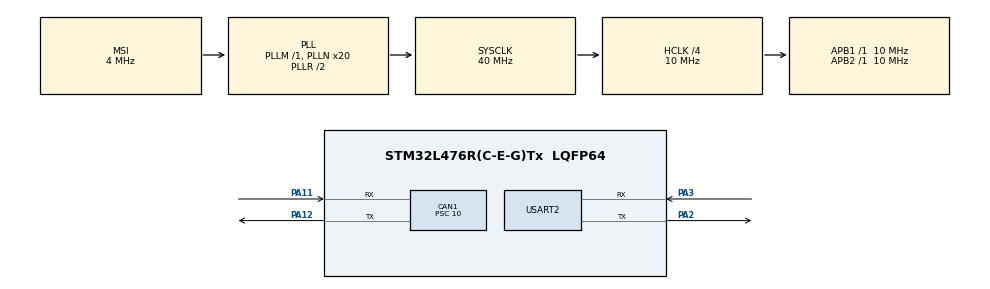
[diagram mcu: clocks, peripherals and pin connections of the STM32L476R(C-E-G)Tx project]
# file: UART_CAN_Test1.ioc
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CAN1.BS1=CAN_BS1_4TQ
CAN1.BS2=CAN_BS2_5TQ
CAN1.CalculateBaudRate=100000
CAN1.CalculateTimeBit=10000.00
CAN1.CalculateTimeQuantum=1000.0
CAN1.Mode=CAN_MODE_LOOPBACK
CAN1.Prescaler=10
CAN1.SJW=CAN_SJW_3TQ
Mcu.Family=STM32L4
Mcu.Name=STM32L476R(C-E-G)Tx
Mcu.Package=LQFP64
NVIC.CAN1_RX0_IRQn=true\:0\:0\:false\:false\:true\:true\:true
NVIC.CAN1_RX1_IRQn=true\:0\:0\:false\:false\:true\:true\:true
NVIC.PriorityGroup=NVIC_PRIORITYGROUP_4
NVIC.USART2_IRQn=true\:0\:0\:false\:false\:true\:true\:true
PA11.Mode=CAN_Activate
PA11.Signal=CAN1_RX
PA12.Mode=CAN_Activate
PA12.Signal=CAN1_TX
PA13\ (JTMS-SWDIO).Mode=Serial_Wire
PA13\ (JTMS-SWDIO).Signal=SYS_JTMS-SWDIO
PA14\ (JTCK-SWCLK).Mode=Serial_Wire
PA14\ (JTCK-SWCLK).Signal=SYS_JTCK-SWCLK
PA2.Mode=Asynchronous
PA2.Signal=USART2_TX
PA3.Mode=Asynchronous
PA3.Signal=USART2_RX
ProjectManager.HeapSize=0x200
ProjectManager.StackSize=0x400
ProjectManager.TargetToolchain=SW4STM32
RCC.AHBCLKDivider=RCC_SYSCLK_DIV4
RCC.AHBFreq_Value=10000000
RCC.APB1Freq_Value=10000000
RCC.APB1TimFreq_Value=10000000
RCC.APB2Freq_Value=10000000
RCC.APB2TimFreq_Value=10000000
RCC.CortexFreq_Value=10000000
RCC.HCLKFreq_Value=10000000
RCC.HSE_VALUE=8000000
RCC.HSI_VALUE=16000000
RCC.LSE_VALUE=32768
RCC.MSI_VALUE=4000000
RCC.PLLN=20
RCC.SYSCLKFreq_VALUE=40000000
RCC.SYSCLKSource=RCC_SYSCLKSOURCE_PLLCLK
RCC.VCOOutputFreq_Value=80000000
USART2.VirtualMode-Asynchronous=VM_ASYNC
board=custom

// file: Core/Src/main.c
/* USER CODE BEGIN Header */
/**
  ******************************************************************************
  * @file           : main.c
  * @brief          : Main program body
  ******************************************************************************
  * @attention
  *
  * <h2><center>&copy; Copyright (c) 2022 STMicroelectronics.
  * All rights reserved.</center></h2>
  *
  * This software component is licensed by ST under BSD 3-Clause license,
  * the "License"; You may not use this file except in compliance with the
  * License. You may obtain a copy of the License at:
  *                        opensource.org/licenses/BSD-3-Clause
  *
  ******************************************************************************
  */
/* USER CODE END Header */
#include "main.h"
#include<stdlib.h>

CAN_HandleTypeDef hcan1;

UART_HandleTypeDef huart2;

void SystemClock_Config(void);
static void MX_GPIO_Init(void);
static void MX_CAN1_Init(void);
static void MX_USART2_UART_Init(void);
/* USER CODE BEGIN PFP */

void CAN_Mode(uint8_t);
void CAN_SJW(uint8_t);
void CAN_TSeg1(uint8_t);
void CAN_TSeg2(uint8_t);
/* USER CODE END PFP */

/* USER CODE BEGIN 0 */
CAN_TxHeaderTypeDef TxHeader; //for transmitting data
CAN_RxHeaderTypeDef RxHeader; // checking data after receive

uint32_t TxMailbox;//creating a mailbox to send data

//creating buffer for transmit and receive
//uint8_t UART_TxData[8];
//uint8_t CAN_TxData[8];
uint8_t UART_RxData[14];
//uint8_t CAN_RxData[8];
//uint8_t *Data;
//uint8_t count=0;

void HAL_UART_RxCpltCallback(UART_HandleTypeDef *huart)
{

	//specifying the header

	if (UART_RxData[0]==2){
		//specifying the header

		TxHeader.DLC=UART_RxData[2];
		TxHeader.IDE=(UART_RxData[13]==1)?CAN_ID_STD:CAN_ID_EXT;
		if (TxHeader.IDE==CAN_ID_STD)
		{
			TxHeader.StdId=UART_RxData[1];
		}else{
			TxHeader.ExtId=UART_RxData[1];
		}
		TxHeader.RTR=(UART_RxData[11]==1)?CAN_RTR_DATA:CAN_RTR_REMOTE;
		TxHeader.TransmitGlobalTime=(UART_RxData[12]==1)?ENABLE:DISABLE;

		uint8_t *Data=malloc(UART_RxData[2]*sizeof(uint8_t)); //DELETED THIS CODE BLOCK
		for (int i=0;i<UART_RxData[2];i++)
		{
			Data[i]=UART_RxData[i+3];
		}

		//uint8_t Data[8] = {0};  // Always use 8 bytes, zero-initialized
		//uint8_t dlc = TxHeader.DLC;
		//for (int i = 0; i < dlc && i < 8; i++) {
		//	Data[i] = UART_RxData[i + 3];
		//}

		HAL_CAN_AddTxMessage(&hcan1, &TxHeader, Data, &TxMailbox);
	}
	else if (UART_RxData[0]==1){
		hcan1.Init.Prescaler = UART_RxData[1];
		/*
		hcan1.Init.Mode = CAN_MODE_LOOPBACK;
		hcan1.Init.SyncJumpWidth = CAN_SJW_3TQ;
		hcan1.Init.TimeSeg1 = CAN_BS1_4TQ;
		hcan1.Init.TimeSeg2 = CAN_BS2_5TQ;
		*/

		CAN_Mode(UART_RxData[2]);
		CAN_SJW(UART_RxData[3]);
		CAN_TSeg1(UART_RxData[4]);
		CAN_TSeg2(UART_RxData[5]);
	    HAL_CAN_DeInit(&hcan1);
	    HAL_CAN_Init(&hcan1);
	    HAL_CAN_Start(&hcan1);
	    HAL_CAN_ActivateNotification(&hcan1, CAN_IT_RX_FIFO0_MSG_PENDING);

	    //DELETE
     //   uint8_t debug[5] = { hcan1.Init.Prescaler, hcan1.Init.SyncJumpWidth, hcan1.Init.TimeSeg1, hcan1.Init.TimeSeg2, hcan1.Init.Mode };
      //  HAL_UART_Transmit(&huart2, debug, 5, 100);
	}
  HAL_UART_Receive_IT(&huart2, UART_RxData, sizeof(UART_RxData));

}

void HAL_CAN_RxFifo0MsgPendingCallback(CAN_HandleTypeDef *hcan)
{	/*
	//uint8_t *CAN_RxData;
	uint8_t *CAN_RxData=malloc((UART_RxData[1])*sizeof(uint8_t));
	//uint8_t CAN_RxData[8];
	HAL_CAN_GetRxMessage(hcan, CAN_RX_FIFO0, &RxHeader, CAN_RxData);
	//UART_TxData=CAN_RxData;
	//CAN_RxData[7]+=1;
	CAN_RxData[3]=0xa1;
	HAL_UART_Transmit(&huart2,CAN_RxData,8,1000);//sizeof(CAN_RxData)
	//HAL_UART_Receive_IT(&huart2, UART_RxData, sizeof(UART_RxData)); //restarting the interrupt reception mode
	//RxData[7]+=1;
	*/
    uint8_t CAN_RxData[8] = {0};
    HAL_CAN_GetRxMessage(hcan, CAN_RX_FIFO0, &RxHeader, CAN_RxData);
    // Only send as many bytes as received (DLC)
    HAL_UART_Transmit(&huart2, CAN_RxData, RxHeader.DLC, 1000);
}
/* USER CODE END 0 */

int main(void)
{

  /* MCU Configuration--------------------------------------------------------*/

  /* Reset of all peripherals, Initializes the Flash interface and the Systick. */
  HAL_Init();

  /* Configure the system clock */
  SystemClock_Config();

  /* Initialize all configured peripherals */
  MX_GPIO_Init();
  MX_CAN1_Init();
  MX_USART2_UART_Init();
  /* USER CODE BEGIN 2 */

  HAL_CAN_Start(&hcan1);

  //activating UART Receive Interrupt
  HAL_UART_Receive_IT(&huart2, UART_RxData, sizeof(UART_RxData));

  HAL_CAN_ActivateNotification(&hcan1, CAN_IT_RX_FIFO0_MSG_PENDING); //activating CAN Receive interrupt

  /* USER CODE END 2 */

  /* Infinite loop */
  while (1)
  {

  }
}

void CAN_Mode(uint8_t ModeID)
{
	switch(ModeID)
	{
	case 0:
		hcan1.Init.Mode =CAN_MODE_NORMAL;
		break;
	case 1:
		hcan1.Init.Mode =CAN_MODE_LOOPBACK;
		break;
	case 2:
		hcan1.Init.Mode =CAN_MODE_SILENT;
		break;
	case 3:
		hcan1.Init.Mode =CAN_MODE_SILENT_LOOPBACK;
		break;
	//default:
	//	printf("Error CAN Mode !!");
	}
}

void CAN_TSeg1(uint8_t TSeg1ID)
{
	switch(TSeg1ID)
	{
	case 1:
		hcan1.Init.TimeSeg1 = CAN_BS1_1TQ;
		break;
	case 2:
		hcan1.Init.TimeSeg1 = CAN_BS1_2TQ;
		break;
	case 3:
		hcan1.Init.TimeSeg1 = CAN_BS1_3TQ;
		break;
	case 4:
		hcan1.Init.TimeSeg1 = CAN_BS1_4TQ;
		break;
	case 5:
		hcan1.Init.TimeSeg1 = CAN_BS1_5TQ;
		break;
	case 6:
		hcan1.Init.TimeSeg1 = CAN_BS1_6TQ;
		break;
	case 7:
		hcan1.Init.TimeSeg1 = CAN_BS1_7TQ;
		break;
	case 8:
		hcan1.Init.TimeSeg1 = CAN_BS1_8TQ;
		break;
	case 9:
		hcan1.Init.TimeSeg1 = CAN_BS1_9TQ;
		break;
	case 10:
		hcan1.Init.TimeSeg1 = CAN_BS1_10TQ;
		break;
	case 11:
		hcan1.Init.TimeSeg1 = CAN_BS1_11TQ;
		break;
	case 12:
		hcan1.Init.TimeSeg1 = CAN_BS1_12TQ;
		break;
	case 13:
		hcan1.Init.TimeSeg1 = CAN_BS1_13TQ;
		break;
	case 14:
		hcan1.Init.TimeSeg1 = CAN_BS1_14TQ;
		break;
	case 15:
		hcan1.Init.TimeSeg1 = CAN_BS1_15TQ;
		break;
	case 16:
		hcan1.Init.TimeSeg1 = CAN_BS1_16TQ;
		break;
	}

}
void CAN_TSeg2(uint8_t TSeg2ID)
{
	switch(TSeg2ID)
	{
	case 1:
		hcan1.Init.TimeSeg2 = CAN_BS2_1TQ;
		break;
	case 2:
		hcan1.Init.TimeSeg2 = CAN_BS2_2TQ;
		break;
	case 3:
		hcan1.Init.TimeSeg2 = CAN_BS2_3TQ;
		break;
	case 4:
		hcan1.Init.TimeSeg2 = CAN_BS2_4TQ;
		break;
	case 5:
		hcan1.Init.TimeSeg2 = CAN_BS2_5TQ;
		break;
	case 6:
		hcan1.Init.TimeSeg2 = CAN_BS2_6TQ;
		break;
	case 7:
		hcan1.Init.TimeSeg2 = CAN_BS2_7TQ;
		break;
	case 8:
		hcan1.Init.TimeSeg2 = CAN_BS2_8TQ;
		break;
	}

}
void CAN_SJW(uint8_t SJW)
{
	switch(SJW)
	{
	case 1:
		hcan1.Init.SyncJumpWidth = CAN_SJW_1TQ;
		break;
	case 2:
		hcan1.Init.SyncJumpWidth = CAN_SJW_2TQ;
		break;
	case 3:
		hcan1.Init.SyncJumpWidth = CAN_SJW_3TQ;
		break;
	case 4:
		hcan1.Init.SyncJumpWidth = CAN_SJW_4TQ;
		break;
	}

}
/*
void CAN_TSeg1_test(uint8_t TSeg1ID)
{
	hcan1.Init.TimeSeg1 = "CAN_BS1_" + TSeg1ID + "TQ";
}
*/
void SystemClock_Config(void)
{
  RCC_OscInitTypeDef RCC_OscInitStruct = {0};
  RCC_ClkInitTypeDef RCC_ClkInitStruct = {0};

  /** Configure the main internal regulator output voltage
  */
  if (HAL_PWREx_ControlVoltageScaling(PWR_REGULATOR_VOLTAGE_SCALE1) != HAL_OK)
  {
    Error_Handler();
  }
  /** Initializes the RCC Oscillators according to the specified parameters
  * in the RCC_OscInitTypeDef structure.
  */
  RCC_OscInitStruct.OscillatorType = RCC_OSCILLATORTYPE_MSI;
  RCC_OscInitStruct.MSIState = RCC_MSI_ON;
  RCC_OscInitStruct.MSICalibrationValue = 0;
  RCC_OscInitStruct.MSIClockRange = RCC_MSIRANGE_6;
  RCC_OscInitStruct.PLL.PLLState = RCC_PLL_ON;
  RCC_OscInitStruct.PLL.PLLSource = RCC_PLLSOURCE_MSI;
  RCC_OscInitStruct.PLL.PLLM = 1;
  RCC_OscInitStruct.PLL.PLLN = 20;
  RCC_OscInitStruct.PLL.PLLP = RCC_PLLP_DIV7;
  RCC_OscInitStruct.PLL.PLLQ = RCC_PLLQ_DIV2;
  RCC_OscInitStruct.PLL.PLLR = RCC_PLLR_DIV2;
  if (HAL_RCC_OscConfig(&RCC_OscInitStruct) != HAL_OK)
  {
    Error_Handler();
  }
  /** Initializes the CPU, AHB and APB buses clocks
  */
  RCC_ClkInitStruct.ClockType = RCC_CLOCKTYPE_HCLK|RCC_CLOCKTYPE_SYSCLK
                              |RCC_CLOCKTYPE_PCLK1|RCC_CLOCKTYPE_PCLK2;
  RCC_ClkInitStruct.SYSCLKSource = RCC_SYSCLKSOURCE_PLLCLK;
  RCC_ClkInitStruct.AHBCLKDivider = RCC_SYSCLK_DIV4;
  RCC_ClkInitStruct.APB1CLKDivider = RCC_HCLK_DIV1;
  RCC_ClkInitStruct.APB2CLKDivider = RCC_HCLK_DIV1;

  if (HAL_RCC_ClockConfig(&RCC_ClkInitStruct, FLASH_LATENCY_0) != HAL_OK)
  {
    Error_Handler();
  }
}

static void MX_CAN1_Init(void)
{

  hcan1.Instance = CAN1;
  //hcan1.Init.Prescaler = 8;
 // hcan1.Init.Mode = CAN_MODE_NORMAL; //CAN_MODE_NORMAL CAN_MODE_LOOPBACK
 // hcan1.Init.SyncJumpWidth = CAN_SJW_3TQ;
 // hcan1.Init.TimeSeg1 = CAN_BS1_5TQ;
  //hcan1.Init.TimeSeg2 = CAN_BS2_4TQ;
  hcan1.Init.TimeTriggeredMode = DISABLE;
  hcan1.Init.AutoBusOff = DISABLE;
  hcan1.Init.AutoWakeUp = DISABLE;
  hcan1.Init.AutoRetransmission = DISABLE;
  hcan1.Init.ReceiveFifoLocked = DISABLE;
  hcan1.Init.TransmitFifoPriority = DISABLE;
  if (HAL_CAN_Init(&hcan1) != HAL_OK)
  {
    Error_Handler();
  }

}

static void MX_USART2_UART_Init(void)
{

  huart2.Instance = USART2;
  huart2.Init.BaudRate = 115200;
  huart2.Init.WordLength = UART_WORDLENGTH_8B;
  huart2.Init.StopBits = UART_STOPBITS_1;
  huart2.Init.Parity = UART_PARITY_NONE;
  huart2.Init.Mode = UART_MODE_TX_RX;
  huart2.Init.HwFlowCtl = UART_HWCONTROL_NONE;
  huart2.Init.OverSampling = UART_OVERSAMPLING_16;
  huart2.Init.OneBitSampling = UART_ONE_BIT_SAMPLE_DISABLE;
  huart2.AdvancedInit.AdvFeatureInit = UART_ADVFEATURE_NO_INIT;
  if (HAL_UART_Init(&huart2) != HAL_OK)
  {
    Error_Handler();
  }
  /* USER CODE BEGIN USART2_Init 2 */
  // CAN Filter Configuration
     CAN_FilterTypeDef canfilterconfig;

     canfilterconfig.FilterActivation=CAN_FILTER_ENABLE;//CAN_FILTER_DISABLE or CAN_FILTER_ENABLE
     canfilterconfig.FilterBank=10;
     canfilterconfig.FilterFIFOAssignment=CAN_RX_FIFO0;
     canfilterconfig.FilterIdHigh=0;//0x100<<5
     canfilterconfig.FilterIdLow=0x0000;
     canfilterconfig.FilterMaskIdHigh=0;//0x100<<5
     canfilterconfig.FilterMaskIdLow=0x0000;
     canfilterconfig.FilterMode=CAN_FILTERMODE_IDMASK;
     canfilterconfig.FilterScale=CAN_FILTERSCALE_32BIT;
     canfilterconfig.SlaveStartFilterBank=0;

     //calling the filter configuration function
     HAL_CAN_ConfigFilter(&hcan1, &canfilterconfig);
  /* USER CODE END USART2_Init 2 */

}

static void MX_GPIO_Init(void)
{

  /* GPIO Ports Clock Enable */
  __HAL_RCC_GPIOA_CLK_ENABLE();

}

void Error_Handler(void)
{
  __disable_irq();
  while (1)
  {
  }
}

/************************ (C) COPYRIGHT STMicroelectronics *****END OF FILE****/
